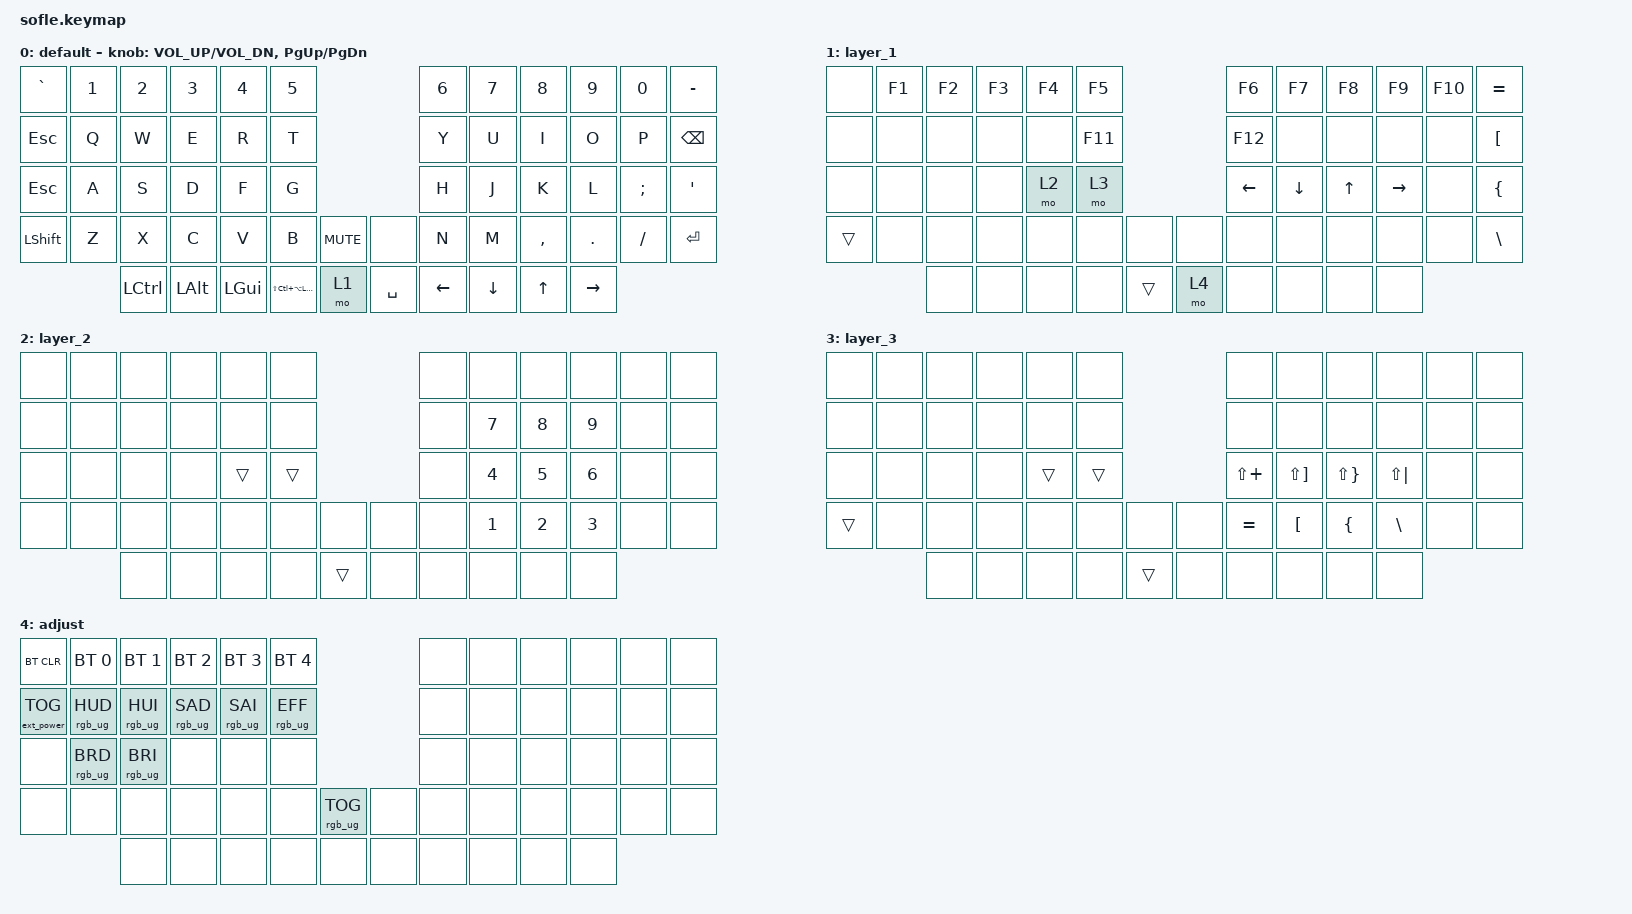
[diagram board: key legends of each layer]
/*
 * Copyright (c) 2020 The ZMK Contributors
 *
 * SPDX-License-Identifier: MIT
 */

#include <behaviors.dtsi>
#include <dt-bindings/zmk/bt.h>
#include <dt-bindings/zmk/ext_power.h>
#include <dt-bindings/zmk/keys.h>
#include <dt-bindings/zmk/rgb.h>

#define BASE 0
#define LOWER 1
#define RAISE 2
#define ADJUST 3

/ {
    // Activate ADJUST layer by pressing raise and lower

    conditional_layers {
        compatible = "zmk,conditional-layers";

        adjust_layer {
            if-layers = <4 4>;
            then-layer = <4>;
        };
    };

    keymap {
        compatible = "zmk,keymap";

        default_layer {
            label = "default";

            // ------------------------------------------------------------------------------------------------------------
            // |   `   |  1  |  2  |  3   |  4   |  5   |                   |  6   |  7    |  8    |  9   |   0   |       |
            // |  ESC  |  Q  |  W  |  E   |  R   |  T   |                   |  Y   |  U    |  I    |  O   |   P   | BKSPC |
            // |  TAB  |  A  |  S  |  D   |  F   |  G   |                   |  H   |  J    |  K    |  L   |   ;   |   '   |
            // | SHIFT |  Z  |  X  |  C   |  V   |  B   |  MUTE  |  |       |  N   |  M    |  ,    |  .   |   /   | SHIFT |
            //               | GUI | ALT  | CTRL | LOWER|  ENTER |  | SPACE | RAISE| CTRL  | ALT   | GUI  |

            bindings = <
&kp GRAVE  &kp N1  &kp N2     &kp N3    &kp N4    &kp N5                                         &kp N6    &kp N7    &kp N8     &kp N9     &kp N0    &kp MINUS
&kp ESC    &kp Q   &kp W      &kp E     &kp R     &kp T                                          &kp Y     &kp U     &kp I      &kp O      &kp P     &kp BSPC
&kp ESC    &kp A   &kp S      &kp D     &kp F     &kp G                                          &kp H     &kp J     &kp K      &kp L      &kp SEMI  &kp SQT
&kp LSHFT  &kp Z   &kp X      &kp C     &kp V     &kp B                 &kp C_MUTE    &none      &kp N     &kp M     &kp COMMA  &kp DOT    &kp FSLH  &kp RET
                   &kp LCTRL  &kp LALT  &kp LGUI  &kp LS(LC(LA(LGUI)))  &mo 1         &kp SPACE  &kp LEFT  &kp DOWN  &kp UP     &kp RIGHT
            >;

            sensor-bindings = <&inc_dec_kp C_VOL_UP C_VOL_DN &inc_dec_kp PG_UP PG_DN>;
        };

        layer_1 {
            bindings = <
&none   &kp F1  &kp F2  &kp F3  &kp F4  &kp F5                    &kp F6    &kp F7    &kp F8  &kp F9     &kp F10  &kp EQUAL
&none   &none   &none   &none   &none   &kp F11                   &kp F12   &none     &none   &none      &none    &kp LBKT
&none   &none   &none   &none   &mo 2   &mo 3                     &kp LEFT  &kp DOWN  &kp UP  &kp RIGHT  &none    &kp LBRC
&trans  &none   &none   &none   &none   &none    &none     &none  &none     &none     &none   &none      &none    &kp BSLH
                &none   &none   &none   &none    &trans    &mo 4  &none     &none     &none   &none
            >;
        };

        layer_2 {
            bindings = <
&none  &none  &none  &none  &none   &none                    &none  &none   &none   &none   &none  &none
&none  &none  &none  &none  &none   &none                    &none  &kp N7  &kp N8  &kp N9  &none  &none
&none  &none  &none  &none  &trans  &trans                   &none  &kp N4  &kp N5  &kp N6  &none  &none
&none  &none  &none  &none  &none   &none   &none     &none  &none  &kp N1  &kp N2  &kp N3  &none  &none
              &none  &none  &none   &none   &trans    &none  &none  &none   &none   &none
            >;
        };

        layer_3 {
            bindings = <
&none   &none  &none  &none  &none   &none                    &none         &none         &none         &none         &none  &none
&none   &none  &none  &none  &none   &none                    &none         &none         &none         &none         &none  &none
&none   &none  &none  &none  &trans  &trans                   &kp LS(PLUS)  &kp LS(RBKT)  &kp LS(RBRC)  &kp LS(PIPE)  &none  &none
&trans  &none  &none  &none  &none   &none   &none     &none  &kp EQUAL     &kp LBKT      &kp LBRC      &kp BSLH      &none  &none
               &none  &none  &none   &none   &trans    &none  &none         &none         &none         &none
            >;
        };

        adjust_layer {
            // ----------------------------------------------------------------------------------------------------------------------------
            // | BTCLR  |  BT1    |  BT2    |   BT3   |   BT4   |   BT5   |                  |      |      |       |      |       |       |
            // | EXTPWR | RGB_HUD | RGB_HUI | RGB_SAD | RGB_SAI | RGB_EFF |                  |      |      |       |      |       |       |
            // |        | RGB_BRD | RGB_BRI |         |         |         |                  |      |      |       |      |       |       |
            // |        |         |         |         |         |         | RGB_TOG | |      |      |      |       |      |       |       |
            //                    |         |         |         |         |         | |      |      |      |       |      |

            label = "adjust";
            bindings = <
&bt BT_CLR         &bt BT_SEL 0     &bt BT_SEL 1     &bt BT_SEL 2     &bt BT_SEL 3     &bt BT_SEL 4                               &none  &none  &none  &none  &none  &none
&ext_power EP_TOG  &rgb_ug RGB_HUD  &rgb_ug RGB_HUI  &rgb_ug RGB_SAD  &rgb_ug RGB_SAI  &rgb_ug RGB_EFF                            &none  &none  &none  &none  &none  &none
&none              &rgb_ug RGB_BRD  &rgb_ug RGB_BRI  &none            &none            &none                                      &none  &none  &none  &none  &none  &none
&none              &none            &none            &none            &none            &none            &rgb_ug RGB_TOG    &none  &none  &none  &none  &none  &none  &none
                                    &none            &none            &none            &none            &none              &none  &none  &none  &none  &none
            >;
        };
    };
};
